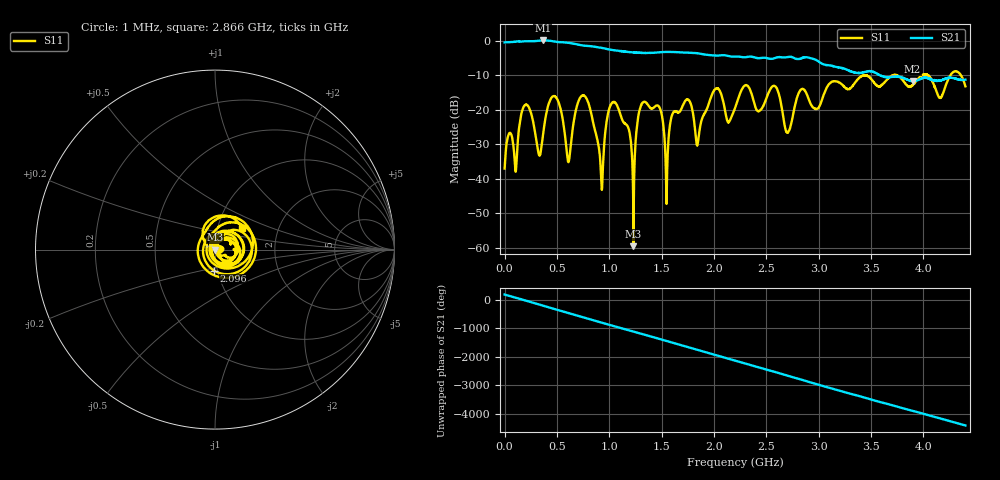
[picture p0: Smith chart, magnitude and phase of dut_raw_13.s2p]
!Created with skrf (http://scikit-rf.org).
# Hz S RI R 50.0
!freq ReS11 ImS11 ReS21 ImS21 ReS12 ImS12 ReS22 ImS22
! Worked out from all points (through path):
!   4400 points, 1 MHz to 4.4 GHz, reference 50 ohm
!   highest |S21| = 0.13 dB at 365 MHz (marker M1); lowest = -11.7 dB at 3.896 GHz (marker M2)
!   lowest |S11| = -59.5 dB at 1.231 GHz (marker M3), VSWR 1.00, Z = 49.9 - j0.0891 ohm
!   |S11| at or under -10 dB: start of sweep to 3.424 GHz; 3.452 GHz to 3.703 GHz (251.2 MHz wide, 7.02 % of centre); 3.75 GHz to 3.985 GHz (234.4 MHz wide, 6.06 % of centre)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
!   S12 and S22 are empty: the file has one direction only
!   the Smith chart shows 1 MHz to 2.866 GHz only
!   S11 on the Smith chart (normalised r, x): 1 MHz: 1.03, +0.00; 2.096 GHz: 0.96, -0.23; 2.866 GHz: 1.30, +0.33
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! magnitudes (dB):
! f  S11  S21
! 1 MHz  -37.0  -0.4
! 199 MHz  -18.5  -0.1
! 365 MHz  -27.9  0.1
! 483 MHz  -16.1  -0.2
! 613 MHz  -34.9  -0.6
! 735 MHz  -16.0  -1.3
! 923 MHz  -39.6  -2.0
! 1.043 GHz  -17.7  -2.7
! 1.231 GHz  -59.5  -3.3
! 1.303 GHz  -18.7  -3.5
! 1.468 GHz  -18.8  -3.3
! 1.547 GHz  -47.2  -3.2
! 1.731 GHz  -17.2  -3.4
! 1.841 GHz  -30.2  -3.6
! 2.096 GHz  -18.7  -4.1
! 2.201 GHz  -19.4  -4.5
! 2.704 GHz  -26.6  -4.7
! 2.866 GHz  -14.3  -4.7
! 2.934 GHz  -18.9  -5.1
! 3.667 GHz  -10.8  -10.6
! 3.896 GHz  -12.9  -11.7
! 4.4 GHz  -13.2  -11.2
